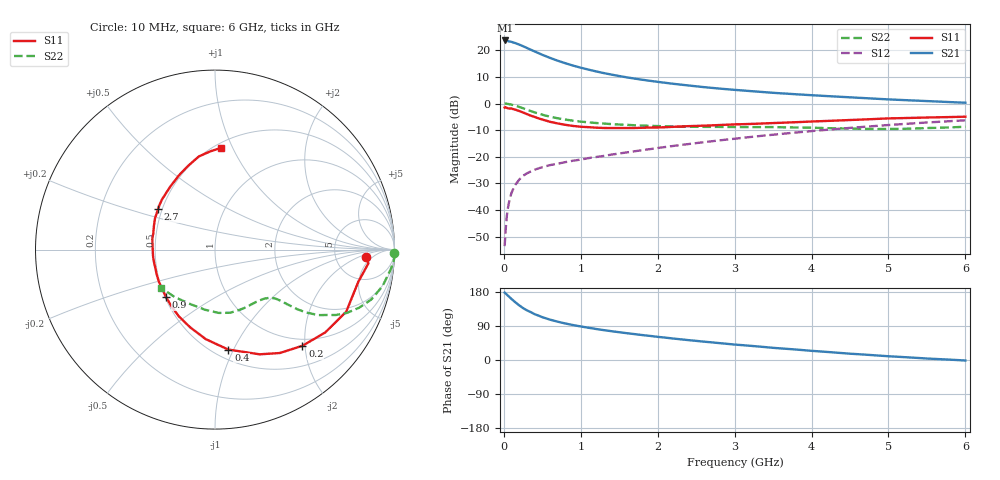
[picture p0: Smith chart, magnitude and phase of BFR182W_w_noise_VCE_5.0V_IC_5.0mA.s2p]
! (c) 2017  Infineon Technologies AG, Munich
! Infineon Technologies  Discrete & RF Semiconductors
! BFR182W
! VCE =  5.0 V,  IC =  5.0 mA
! Common Emitter S-Parameters:  Jan 2017
# GHz  S  MA  R  50
!  f  S11  S21  S12  S22
! GHz  MAG  ANG  MAG  ANG  MAG  ANG  MAG  ANG
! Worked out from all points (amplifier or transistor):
!   77 points, 10 MHz to 6 GHz, reference 50 ohm
!   highest |S21| = 23.7 dB at 20 MHz (marker M1)
!   |S21| within 3 dB of that: start of sweep to 313.4 MHz
!   unconditionally stable (mu >= 1): 1.369 GHz to 2.851 GHz
!   at 130 MHz: K = 0.17, MSG = 27.2 dB, |S12| = -31.6 dB
!   at 2.2 GHz: K = 1.05, MAG = 10.4 dB, |S12| = -15.9 dB
!   at 6 GHz: K = 0.84, MSG = 3.3 dB, |S12| = -6.3 dB
!   lowest NFmin = 0.88 dB at 450 MHz
!   S11 on the Smith chart (normalised r, x): 10 MHz: 11, -3; 200 MHz: 0.86, -1.95; 400 MHz: 0.59, -0.95; 900 MHz: 0.51, -0.31; 2.7 GHz: 0.48, +0.25; 6 GHz: 0.54, +0.90
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0.01  0.841 -2.7  15.08 177.9  0.0021 78.8  0.9997 -1.2
0.02  0.8581 -5.1  15.32 176.2  0.0034 87.1  1 -2.7
0.05  0.8181 -12.7  14.93 170.4  0.0103 85.0  0.9856 -6.3
0.1  0.8091 -25.3  14.41 161.0  0.0211 77.9  0.9556 -12.3
0.15  0.7685 -36.9  13.66 152.2  0.0299 71.2  0.9141 -17.7
0.2  0.7243 -47.7  12.81 144.2  0.0373 67.6  0.8653 -22.0
0.25  0.6801 -57.9  11.96 137.0  0.0441 62.9  0.8157 -25.6
0.3  0.6342 -66.9  11.07 131.0  0.0489 60.2  0.7661 -28.4
0.4  0.5619 -82.4  9.535 120.9  0.0573 55.9  0.6832 -32.3
0.5  0.5015 -95.9  8.229 113.0  0.0639 54.2  0.6177 -34.6
0.6  0.4547 -107.7  7.215 106.5  0.0699 52.7  0.5675 -35.9
0.7  0.4235 -118.2  6.376 101.1  0.0742 53.1  0.5294 -36.6
0.8  0.3991 -127.2  5.721 96.3  0.0795 53.5  0.5007 -37.2
0.9  0.3802 -135.7  5.162 92.2  0.0845 53.6  0.4772 -37.6
1.1  0.3603 -150.4  4.342 85.1  0.0945 55.6  0.4445 -38.6
1.5  0.3472 -173.4  3.29 73.3  0.1155 57.7  0.4039 -41.7
2.1  0.3597 162.0  2.454 59.0  0.1531 59.9  0.3743 -50.0
2.7  0.3897 144.3  1.974 46.6  0.1957 59.7  0.3643 -61.1
3.1  0.4101 134.2  1.763 39.2  0.227 58.4  0.3619 -68.7
4.1  0.466 114.0  1.409 22.8  0.3129 52.6  0.3493 -89.1
5.1  0.5303 98.4  1.18 8.8  0.4043 43.9  0.3341 -118.1
6  0.5668 86.9  1.036 -1.3  0.485 34.6  0.3674 -144.3
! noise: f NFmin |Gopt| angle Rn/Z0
0.45  0.88  0.26  32  0.17
0.9  0.98  0.21  59  0.16
1.9  1.55  0.19  162  0.13
2.4  1.83  0.21  176  0.17
